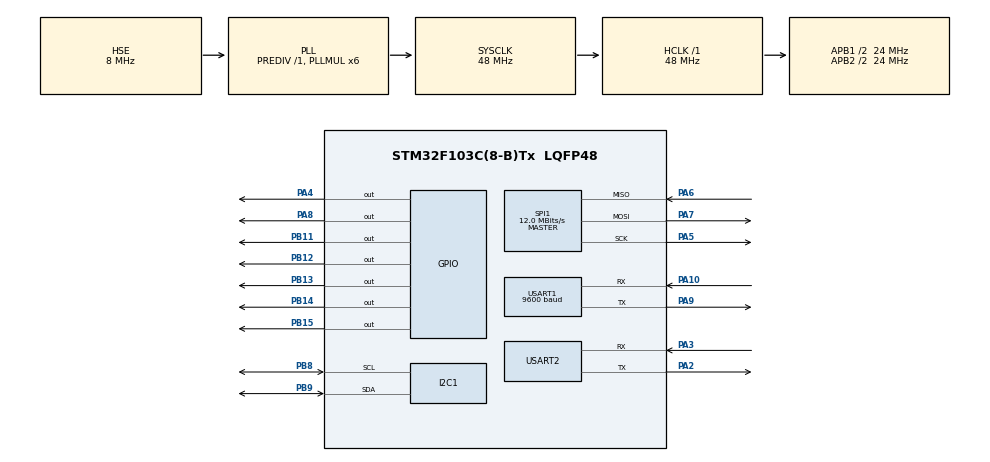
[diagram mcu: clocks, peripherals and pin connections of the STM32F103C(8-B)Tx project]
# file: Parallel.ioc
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Mcu.Family=STM32F1
Mcu.Name=STM32F103C(8-B)Tx
Mcu.Package=LQFP48
NVIC.PriorityGroup=NVIC_PRIORITYGROUP_4
NVIC.TIM3_IRQn=true\:0\:0\:false\:false\:true
NVIC.USART1_IRQn=true\:0\:0\:false\:false\:true
NVIC.USART2_IRQn=true\:0\:0\:false\:false\:true
PA10.Mode=Asynchronous
PA10.Signal=USART1_RX
PA13.Mode=Serial_Wire
PA13.Signal=SYS_JTMS-SWDIO
PA14.Mode=Serial_Wire
PA14.Signal=SYS_JTCK-SWCLK
PA2.Mode=Asynchronous
PA2.Signal=USART2_TX
PA3.Mode=Asynchronous
PA3.Signal=USART2_RX
PA4.Signal=GPIO_Output
PA5.Mode=Full_Duplex_Master
PA5.Signal=SPI1_SCK
PA6.Mode=Full_Duplex_Master
PA6.Signal=SPI1_MISO
PA7.Mode=Full_Duplex_Master
PA7.Signal=SPI1_MOSI
PA8.Signal=GPIO_Output
PA9.Mode=Asynchronous
PA9.Signal=USART1_TX
PB11.Signal=GPIO_Output
PB12.Signal=GPIO_Output
PB13.Signal=GPIO_Output
PB14.Signal=GPIO_Output
PB15.Signal=GPIO_Output
PB8.Mode=I2C
PB8.Signal=I2C1_SCL
PB9.Mode=I2C
PB9.Signal=I2C1_SDA
PC14-OSC32_IN.Mode=LSE-External-Oscillator
PC14-OSC32_IN.Signal=RCC_OSC32_IN
PC15-OSC32_OUT.Mode=LSE-External-Oscillator
PC15-OSC32_OUT.Signal=RCC_OSC32_OUT
PD0-OSC_IN.Mode=HSE-External-Oscillator
PD0-OSC_IN.Signal=RCC_OSC_IN
PD1-OSC_OUT.Mode=HSE-External-Oscillator
PD1-OSC_OUT.Signal=RCC_OSC_OUT
ProjectManager.HeapSize=0x200
ProjectManager.StackSize=0x400
ProjectManager.TargetToolchain=MDK-ARM V5
RCC.AHBFreq_Value=48000000
RCC.APB1CLKDivider=RCC_HCLK_DIV2
RCC.APB1Freq_Value=24000000
RCC.APB1TimFreq_Value=48000000
RCC.APB2CLKDivider=RCC_HCLK_DIV2
RCC.APB2Freq_Value=24000000
RCC.APB2TimFreq_Value=48000000
RCC.HCLKFreq_Value=48000000
RCC.HSIState=RCC_HSI_ON
RCC.PLLMUL=RCC_PLL_MUL6
RCC.PLLSourceVirtual=RCC_PLLSOURCE_HSE
RCC.RTCClockSelection=RCC_RTCCLKSOURCE_HSE_DIV128
RCC.SYSCLKFreq_VALUE=48000000
RCC.SYSCLKSource=RCC_SYSCLKSOURCE_PLLCLK
RCC.USBFreq_Value=48000000
SPI1.BaudRatePrescaler=SPI_BAUDRATEPRESCALER_2
SPI1.CalculateBaudRate=12.0 MBits/s
SPI1.Mode=SPI_MODE_MASTER
TIM3.Period=999
TIM3.Prescaler=48000
USART1.BaudRate=9600
VP_TIM3_VS_ClockSourceINT.Mode=Internal
board=Parallel

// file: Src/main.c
/**
  ******************************************************************************
  * File Name          : main.c
  * Description        : Main program body
  ******************************************************************************
  *
  * COPYRIGHT(c) 2020 STMicroelectronics
  *
  * Redistribution and use in source and binary forms, with or without modification,
  * are permitted provided that the following conditions are met:
  *   1. Redistributions of source code must retain the above copyright notice,
  *      this list of conditions and the following disclaimer.
  *   2. Redistributions in binary form must reproduce the above copyright notice,
  *      this list of conditions and the following disclaimer in the documentation
  *      and/or other materials provided with the distribution.
  *   3. Neither the name of STMicroelectronics nor the names of its contributors
  *      may be used to endorse or promote products derived from this software
  *      without specific prior written permission.
  *
  * THIS SOFTWARE IS PROVIDED BY THE COPYRIGHT HOLDERS AND CONTRIBUTORS "AS IS"
  * AND ANY EXPRESS OR IMPLIED WARRANTIES, INCLUDING, BUT NOT LIMITED TO, THE
  * IMPLIED WARRANTIES OF MERCHANTABILITY AND FITNESS FOR A PARTICULAR PURPOSE ARE
  * DISCLAIMED. IN NO EVENT SHALL THE COPYRIGHT HOLDER OR CONTRIBUTORS BE LIABLE
  * FOR ANY DIRECT, INDIRECT, INCIDENTAL, SPECIAL, EXEMPLARY, OR CONSEQUENTIAL
  * DAMAGES (INCLUDING, BUT NOT LIMITED TO, PROCUREMENT OF SUBSTITUTE GOODS OR
  * SERVICES; LOSS OF USE, DATA, OR PROFITS; OR BUSINESS INTERRUPTION) HOWEVER
  * CAUSED AND ON ANY THEORY OF LIABILITY, WHETHER IN CONTRACT, STRICT LIABILITY,
  * OR TORT (INCLUDING NEGLIGENCE OR OTHERWISE) ARISING IN ANY WAY OUT OF THE USE
  * OF THIS SOFTWARE, EVEN IF ADVISED OF THE POSSIBILITY OF SUCH DAMAGE.
  *
  ******************************************************************************
  */
#include "stm32f1xx_hal.h"

/* USER CODE BEGIN Includes */
#include "bme280.h"
#include "bme280_defs.h"
#include "SDS011.h"
#include <stdio.h>
#include <stdlib.h>
#include <string.h>
#include <math.h>

#define ESP_CMD_INDEX UINT8_C(4)
#define LCD_CMD_INDEX UINT8_C(2)
#define RTC_DATA_NUM_FORM UINT8_C(2)
#define RTC_DATA_FIELD UINT8_C(7)
#define RTC_DATA_STATUS_BYTE UINT8_C(0)
#define SDS_FRAME (9)
#define LCD_LEVEL_DATA_INDEX (6)
#define DATA_AQI_INDEX (0)
#define ESP_DATA_FIELD (6)
#define ESP_DATA_NUM_FORM (4)
#define MAX_COUNTER_VARIABLES (10)
#define FLAG_RAISING (1)
#define FLAG_FALLING (0)
#define TIME_FORMAT_SECOND (0)
#define TIME_FORMAT_MINUTE (1)
#define TIME_FORMAT_HOUR (2)
#define TIME_FORMAT_DAY (3)
#define FLAG_RAISE (1)
#define FLAG_DEFAULT (0)
#define MEASURE_COUNT (20)
/* USER CODE END Includes */

I2C_HandleTypeDef hi2c1;

SPI_HandleTypeDef hspi1;

TIM_HandleTypeDef htim3;

UART_HandleTypeDef huart1;
UART_HandleTypeDef huart2;

/* USER CODE BEGIN PV */
/* Private variables ---------------------------------------------------------*/
UART_HandleTypeDef hua;
struct bme280_dev dev;
struct bme280_data cdata;
uint32_t countloop = 0;
uint8_t ib = 0;
uint8_t CNT_Measure = 0;
float pm25 = 0, pm10 = 0;
uint8_t level = 0;
uint32_t req_time = 0;
uint16_t SDS_OFFSET = 100;
uint32_t TIME_UNIT[] = {1, 60, 3600, 86400};
uint16_t PM_MAX1 = 0, PM_MIN1 = 500;
uint16_t PM_MAX2 = 0, PM_MIN2 = 500;
uint8_t COMMAND_ID = 0;

//Interrupt UART Variables
uint8_t Rx_DataReg1;
uint8_t Rx_DataReg2;
uint8_t Rx_DataReg3;
volatile uint8_t index1 = 0;
volatile uint8_t index2 = 0;
volatile uint8_t index3 = 0;

//Buffers
uint8_t buffer1[100];
char buffer2[100];
char buffer3[100];
char message1[100];
char message2[100];
char rtc_data[100];
char esp_data[100];
char wifi_ssid[100];
char wifi_pass[100];
uint8_t sds_data[10];
uint16_t data_outdoor[10];

//Flags
uint8_t ESP_BUSY = 1;
uint8_t ESP_ISCONNECTED = 0;
uint8_t FLAG_SDS = 1;
uint8_t FLAG_RTC = 1;
uint8_t FLAG_SENSORS_READ = 1;
uint8_t FLAG_REQUEST_DATA_STM = 1;
uint8_t FLAG_ACTIVE_SENSORS = 1;
uint16_t checksum = 0;
uint8_t checksumFlag = 0;

//Couter variables
uint32_t counter[MAX_COUNTER_VARIABLES] = {0};
uint8_t hcnt[MAX_COUNTER_VARIABLES] = {0}; //Handle for counter registration
/* USER CODE END PV */

void SystemClock_Config(void);
static void MX_GPIO_Init(void);
static void MX_I2C1_Init(void);
static void MX_SPI1_Init(void);
static void MX_USART1_UART_Init(void);
static void MX_USART2_UART_Init(void);
static void MX_TIM3_Init(void);

/* USER CODE BEGIN PFP */
/* Private function prototypes -----------------------------------------------*/

/* USER CODE END PFP */

/* USER CODE BEGIN 0 */

// I2C delay/read/write for driver BME

int fputc(int c, FILE *f)
{
	HAL_UART_Transmit(&hua, (uint8_t*)&c, 1, 0x00FF);
	return 0;
}
uint8_t USER_ATOI(char c)
{
	if ((c > 0x2F) && (c < 0x3A)) {
		return (c - 48);
	}
	else {
		return 0;
	}
}
void HAL_UART_RxCpltCallback(UART_HandleTypeDef *huart)
{

	if (huart->Instance == huart2.Instance)
	{

		if (index2 == 0) memset(&buffer2, 0, 100);
		switch (index2)
		{
			case 0:
				if (Rx_DataReg2 == '#') {buffer2[index2++] = Rx_DataReg2; }
				break;
			case 1:
				if (Rx_DataReg2 == 'E') {buffer2[index2++] = Rx_DataReg2; }
				else index2 = 0;
				break;
			case 2:
				if (Rx_DataReg2 == 'S') {buffer2[index2++] = Rx_DataReg2; }
				else index2 = 0;
				break;
			case 3:
				if (Rx_DataReg2 == 'P') {buffer2[index2++] = Rx_DataReg2; }
				else index2 = 0;
				break;
			default:
				if (Rx_DataReg2 != 0x0D) buffer2[index2++] = Rx_DataReg2;
				else
				{
					// check buffer1[ESP_CMD_INDEX] for commander code:
					// 0 is State ESP in progress (Busy)
					// 1 is State IsConnected Wifi
					// 2 is RTC data from NTP server
					// 3 is DataMessage from Local Network ESP, then copy to Message1[100]
					switch (buffer2[ESP_CMD_INDEX])
					{
						case '0': ESP_BUSY = 0;
							break;
						case '1':
							if (buffer2[ESP_CMD_INDEX + 1] == '1')
								ESP_ISCONNECTED = 1 ;
							else
								ESP_ISCONNECTED = 0;
							break;
						case '2':
							FLAG_RTC = 0;
							for (int i = 0; i < index2 - ESP_CMD_INDEX - 1; i++)
								rtc_data[i] = buffer2[i + ESP_CMD_INDEX + 1];
							break;
						case '3':
							for (int i = 0; i < index2 - ESP_CMD_INDEX - 1; i++)
								message1[i] = buffer2[i + ESP_CMD_INDEX + 1];
							break;
						case '4': //CMD
							COMMAND_ID = buffer2[ESP_CMD_INDEX + 1];
							switch (COMMAND_ID)
							{
								case '0': HAL_GPIO_WritePin(GPIOB, GPIO_PIN_11, GPIO_PIN_SET); break;
								case '1': HAL_GPIO_WritePin(GPIOB, GPIO_PIN_11, GPIO_PIN_RESET); break;
								case '2': HAL_GPIO_WritePin(GPIOB, GPIO_PIN_14, GPIO_PIN_RESET); break;
							}
							break;
						case '5':
							HAL_GPIO_TogglePin(GPIOB, GPIO_PIN_15);
							FLAG_REQUEST_DATA_STM = 0;
					}
					index2 = 0;
				}
		}
		HAL_UART_Receive_IT(&huart2, &Rx_DataReg2, 1);
	}

	if (huart->Instance == huart1.Instance)
	{
		if (index1 == 0) memset(&buffer1, 0 , 100);
		switch (index1)
		{
			case 0:
				if (Rx_DataReg1 == 0xAA) {buffer1[index1++] = Rx_DataReg1;}
				break;
			case 1:
				if (Rx_DataReg1 == 0xC0) {buffer1[index1++] = Rx_DataReg1;}
				else index1 = 0;
				break;
			default:
				if (index1  < SDS_FRAME)
				{
					buffer1[index1] = Rx_DataReg1;
					if (index1 != 8) {checksum += Rx_DataReg1;}
					else if (Rx_DataReg1 == (checksum % 256)) checksumFlag = 1;
					index1++;
				}
				if (index1 == SDS_FRAME && Rx_DataReg1 == 0xAB)
				{
					if (checksumFlag)
					{
						for (int i = 0; i < 4; i++)  // Take 4 byte data of PM2.5 & PM10
						{
							sds_data[i] = buffer1[i+2];
						}
						FLAG_SDS = 0;
					}
					index1 = 0;
				}
		}
		HAL_UART_Receive_IT(&huart1, &Rx_DataReg1, 1);
	}
}

void HAL_TIM_PeriodElapsedCallback(TIM_HandleTypeDef *htim)
{
	if(htim -> Instance == htim3.Instance)
	{
		for(int i = 0; i < MAX_COUNTER_VARIABLES; i++)
		{
			if(hcnt[i] == 1) counter[i]++;
		}
	}
}
void PARSE_TIME(char time[RTC_DATA_FIELD][RTC_DATA_NUM_FORM], char *data)
{
	uint8_t n = 0;
	for(int i = 1; i < RTC_DATA_FIELD * RTC_DATA_NUM_FORM + 1;)  // Byte 1 of RTC_data for Status
	{
		for(int j = 0; j < RTC_DATA_NUM_FORM; j++)
		{
			time[n][j] = data[i++];
		}
		n++;
	}
}
uint8_t BcdToDec(uint8_t Num) {
	return ((Num / 16) * 10 + (Num % 16));
}

uint8_t DecToBcd(uint8_t Num) {
	return ((Num / 10) * 16 + (Num % 10));
}

uint16_t USER_ROUND(float Num)
{
	int a = (int)Num;
	if (Num <= 0) return 0;
	if (Num - a >= 0.5){
		return (a + 1);
	}
	else{
		return a;
	}
}

void SEND_DATA_THINGSPEAK(volatile uint8_t *esp_status, volatile uint8_t *flag, uint16_t *data, uint8_t field)
{
	if (*esp_status == 0 && *flag == 0)
	{
		char str[100] = {0};
		char buf[10] = {0};
		for(int i = 0; i < field; i++)
		{
			sprintf(buf, "%d%c", data[i], ';');
			strcat(str, buf);
		}
		hua  = huart2;
		printf("#3DATA;%s\r", str);
//		hua  = huart3;
//		printf("#3DATA;%s\r", str);

		*esp_status = 1;
		*flag = 1;
	}
}

void ESP_RESET()
{
	HAL_GPIO_WritePin(GPIOA, GPIO_PIN_8, GPIO_PIN_RESET);
	HAL_Delay(50);
	HAL_GPIO_WritePin(GPIOA, GPIO_PIN_8, GPIO_PIN_SET);
}
uint16_t getAqi(float C, uint8_t type)
{
  float I, I_hi, I_low;
  float  C_hi, C_low;
  if (type == 25) {
    if (C > 0 && C < 15.4) {
      C_hi  = 15.4;
      C_low = 0.0;
      I_hi  = 50;
      I_low = 0;
    }
    else if (C < 40.4) {
      C_hi  = 40.4;
      C_low = 15.5;
      I_hi  = 100;
      I_low = 51;
    }
    else if (C < 65.4) {
      C_hi  = 65.4;
      C_low = 40.5;
      I_hi  = 150;
      I_low = 101;
    }
    else if (C < 150.4) {
      C_hi  = 150.4;
      C_low = 65.5;
      I_hi  = 200;
      I_low = 151;
    }
    else if (C < 250.4) {
      C_hi  = 250.4;
      C_low = 150.5;
      I_hi  = 300;
      I_low = 201;
    }
    else if (C < 350.4) {
      C_hi  = 350.4;
      C_low = 250.5;
      I_hi  = 400;
      I_low = 301;
    }
    else if (C < 500.4) {
      C_hi  = 500.4;
      C_low = 350.5;
      I_hi  = 500;
      I_low = 401;
    }
  }
  if (type == 10) {
    if (C > 0 && C < 54) {
      C_hi  = 54;
      C_low = 0.0;
      I_hi  = 50;
      I_low = 0;
    }
    else if (C < 154) {
      C_hi  = 154;
      C_low = 55;
      I_hi  = 100;
      I_low = 51;
    }
    else if (C < 254) {
      C_hi  = 254;
      C_low = 155;
      I_hi  = 150;
      I_low = 101;
    }
    else if (C < 354) {
      C_hi  = 354;
      C_low = 255;
      I_hi  = 200;
      I_low = 151;
    }
    else if (C < 424) {
      C_hi  = 424;
      C_low = 355;
      I_hi  = 300;
      I_low = 201;
    }
    else if (C < 504) {
      C_hi  = 504;
      C_low = 425;
      I_hi  = 400;
      I_low = 301;
    }
    else if (C < 604) {
      C_hi  = 604;
      C_low = 505;
      I_hi  = 500;
      I_low = 401;
    }
    else return 500;
  }

  I = ((I_hi - I_low) / (C_hi - C_low) * (C - C_low)) + I_low;
  return (uint16_t)I;
}
// I2C delay/read/write for driver BME
void USER_DELAY(uint32_t period)
{
 HAL_Delay(period);
}
int8_t USER_READ(uint8_t dev_id, uint8_t reg_addr, uint8_t *reg_data, uint16_t len)
{
	HAL_StatusTypeDef status = HAL_OK;
	int8_t rslt = 0;
	status = HAL_I2C_Mem_Read(&hi2c1, (uint8_t)(dev_id<<1), (uint8_t)reg_addr, I2C_MEMADD_SIZE_8BIT, reg_data, len, 10);
	if (status != HAL_OK) rslt = 1;
	return rslt;
}
int8_t USER_WRITE(uint8_t dev_id, uint8_t reg_addr, uint8_t *reg_data, uint16_t len)
{
	HAL_StatusTypeDef status = HAL_OK;
	int8_t rslt = 0;
	status = HAL_I2C_Mem_Write(&hi2c1, (uint8_t)(dev_id<<1), (uint8_t)reg_addr, I2C_MEMADD_SIZE_8BIT, reg_data, len, 100);
	if (status != HAL_OK) rslt = 1;
	return rslt;
}

int8_t BME280_UINIT(struct bme280_dev *pdev)
{
	int8_t rslt = BME280_OK;
	pdev -> dev_id = BME280_I2C_ADDR_PRIM;
	pdev -> intf = BME280_I2C_INTF;
	pdev -> read = USER_READ;
	pdev -> write = USER_WRITE;
	pdev -> delay_ms = USER_DELAY;

	rslt = bme280_init(pdev);
	return rslt;
}
int8_t BME280_SETTING(struct bme280_dev *pdev)
{
	int8_t rslt;
	uint8_t settings_sel;

	/* Recommended mode of operation: Indoor navigation */
	pdev->settings.osr_h = BME280_OVERSAMPLING_1X;
	pdev->settings.osr_p = BME280_OVERSAMPLING_16X;
	pdev->settings.osr_t = BME280_OVERSAMPLING_2X;
	pdev->settings.filter = BME280_FILTER_COEFF_16;
	pdev->settings.standby_time = BME280_STANDBY_TIME_62_5_MS;

	settings_sel = BME280_OSR_PRESS_SEL;
	settings_sel |= BME280_OSR_TEMP_SEL;
	settings_sel |= BME280_OSR_HUM_SEL;
	settings_sel |= BME280_STANDBY_SEL;
	settings_sel |= BME280_FILTER_SEL;
	rslt = bme280_set_sensor_settings(settings_sel, pdev);
	rslt = bme280_set_sensor_mode(BME280_NORMAL_MODE, pdev);

	return rslt;
}
int8_t BME280_READ_DATA(struct bme280_data *pcomp_data, struct bme280_dev *pdev)
{
	int8_t rslt;
	rslt = bme280_get_sensor_data(BME280_ALL, pcomp_data, pdev);
	return rslt;
}

void FLAG_ROUTINE(uint8_t flag0, uint16_t cnt, uint8_t cycletime)
{

}

int8_t BME280_SETTING_FORCE_MODE(struct bme280_dev *dev, struct bme280_data *comp_data, uint32_t *req_delay)
{
	int8_t rslt;
	uint8_t settings_sel;
	/* Recommended mode of operation: Indoor navigation */
	dev->settings.osr_h = BME280_OVERSAMPLING_1X;
	dev->settings.osr_p = BME280_OVERSAMPLING_16X;
	dev->settings.osr_t = BME280_OVERSAMPLING_2X;
	dev->settings.filter = BME280_FILTER_COEFF_16;

	settings_sel = BME280_OSR_PRESS_SEL | BME280_OSR_TEMP_SEL | BME280_OSR_HUM_SEL | BME280_FILTER_SEL;

	rslt = bme280_set_sensor_settings(settings_sel, dev);

	/*Calculate the minimum delay required between consecutive measurement based upon the sensor enabled
	 *  and the oversampling configuration. */
	*req_delay = bme280_cal_meas_delay(&dev->settings);
	return rslt;
}
void print_sensor_data(struct bme280_data *comp_data)
{
#ifdef BME280_FLOAT_ENABLE
        printf("%0.2f, %0.2f, %0.2f\r\n",comp_data->temperature, comp_data->pressure, comp_data->humidity);
#else
        printf("%ld, %ld, %ld\r\n",comp_data->temperature, comp_data->pressure, comp_data->humidity);
#endif
}

void stream_sensor_data_forced_mode(struct bme280_dev *dev)
{
	uint8_t settings_sel;
	uint32_t req_delay;
	struct bme280_data comp_data;

	/* Recommended mode of operation: Indoor navigation */
	dev->settings.osr_h = BME280_OVERSAMPLING_1X;
	dev->settings.osr_p = BME280_OVERSAMPLING_16X;
	dev->settings.osr_t = BME280_OVERSAMPLING_2X;
	dev->settings.filter = BME280_FILTER_COEFF_16;

	settings_sel = BME280_OSR_PRESS_SEL | BME280_OSR_TEMP_SEL | BME280_OSR_HUM_SEL | BME280_FILTER_SEL;

	bme280_set_sensor_settings(settings_sel, dev);

	/*Calculate the minimum delay required between consecutive measurement based upon the sensor enabled
	 *  and the oversampling configuration. */
	req_delay = bme280_cal_meas_delay(&dev->settings);

	printf("Temperature, Pressure, Humidity\r\n");
	/* Continuously stream sensor data */
	while (1) {
			bme280_set_sensor_mode(BME280_FORCED_MODE, dev);
			/* Wait for the measurement to complete and print data @25Hz */
			dev->delay_ms(req_delay);
			bme280_get_sensor_data(BME280_ALL, &comp_data, dev);
			print_sensor_data(&comp_data);
		HAL_Delay(1000);
	}
}
void LCD_CMD(char *cmd)
{
//	hua = huart3;
//	printf("%s", cmd);
//	printf("%c%c%c", 0xFF, 0xFF, 0xFF);
}

void SDS011_USER_READ(uint8_t *flag, float *pm25, float *pm10)
{
	if (*flag == 0)
	{
		*pm25 = (float)(sds_data[1] << 8);
		*pm25 += (float)sds_data[0];
		*pm25 /= 10.0;
		*pm10 = (float)(sds_data[3] << 8);
		*pm10 += (float)sds_data[2];
		*pm10 /= 10.0;
		*flag = 1;
	}
}
void FLAG_UPDATE_STATUS(uint8_t *flag, uint8_t counter_id, uint8_t type_action, uint8_t time_format, uint16_t period)
{
	/*Type Action: 	0 for FALLING (1 -> 0)
									1 for RASING (0 -> 1)

		Time Format:	0 - Second
									1 - Minute
									2 - Hour
									3 - Day
		TIME_UNIT[] = {1, 60, 3600, 86400}
	*/
	if(counter_id < MAX_COUNTER_VARIABLES)
	{
		if(hcnt[counter_id] == 0) hcnt[counter_id] = 1;  // Flag Registration
		if(counter[counter_id] >= period * TIME_UNIT[time_format])
		{
			if(type_action == FLAG_RAISING) *flag = 1;
			else *flag = 0;
			counter[counter_id] = 0; // Reset counter
		}
	}

}
void READ_SENSORS(uint8_t *flag1, uint8_t *flag2, uint8_t *cnt, struct bme280_dev *pdev, struct bme280_data *pdata, float *pm25, float *pm10, uint8_t *flagsds, uint16_t pulse, uint16_t *stored_data)
{
	if(*flag1 == 0 && *flag2 == 0)
	{
		if (*cnt == 0)
		{
			SDS011_WAKEUP();
//			hua = huart3;
//			printf("\nWakeup SDS\n");
		}
		bme280_set_sensor_mode(BME280_FORCED_MODE, pdev);
		HAL_Delay(req_time);
//		hua = huart3;
//		printf("\n%d\n", *cnt);

		BME280_READ_DATA(pdata, pdev);
		SDS011_USER_READ(flagsds, pm25, pm10);
		stored_data[0] = USER_ROUND(*pm25);
		stored_data[1] = USER_ROUND(*pm10);
		stored_data[2] = USER_ROUND(pdata->temperature);
		stored_data[3] = USER_ROUND(pdata->humidity);
		stored_data[4] = USER_ROUND((pdata->pressure)/100);
		stored_data[5] = USER_ROUND(ib);

//		hua = huart3;
//		printf("BME280 DATA: Temp = %.1f /Humi = %.1f /Press = %.1f\n", pdata->temperature, pdata->humidity, pdata->pressure/100);
//		printf("SDS011 DATA: AQI = %d/ PM2.5 = %.1f /PM10 = %.1f\n\n", getAqi(*pm25, 25), *pm25, *pm10);
		*flag2 = 1;
		if (*cnt == MEASURE_COUNT)
		{
//			hua = huart3;
//			printf("\nSLEEP SDS\n");
			SDS011_SLEEP();
			*cnt = 0;
			*flag1 = 1;
		}
		else *cnt = *cnt + 1;
	}
}
void RESPONSE_DATA(uint8_t *flag, uint16_t *data)
{
	if (*flag == 0)
	{
		char str[100] = {0};
		char buf[10] = {0};
		for(int i = 0; i < 6; i++)
		{
			sprintf(buf, "%d%c", data[i], ';');
			strcat(str, buf);
		}
		hua  = huart2;
		printf("#DATA;%s\r", str);
//		hua  = huart3;
//		printf("#DATA;%s\r", str);

		*flag = 1;
		ib += 10;
	}
}
/* USER CODE END 0 */

int main(void)
{

  /* MCU Configuration----------------------------------------------------------*/

  /* Reset of all peripherals, Initializes the Flash interface and the Systick. */
  HAL_Init();

  /* Configure the system clock */
  SystemClock_Config();

  /* Initialize all configured peripherals */
  MX_GPIO_Init();
  MX_I2C1_Init();
  MX_SPI1_Init();
  MX_USART1_UART_Init();
  MX_USART2_UART_Init();
  MX_TIM3_Init();

  /* USER CODE BEGIN 2 */
	//---------------------------------------------------------
	countloop++;
	ESP_RESET();
	HAL_Delay(2000);
	SDS011_SET_UART(&huart1);
	HAL_UART_Receive_IT(&huart1, &Rx_DataReg1, 1);
	HAL_UART_Receive_IT(&huart2, &Rx_DataReg2, 1);
//	HAL_UART_Receive_IT(&huart3, &Rx_DataReg3, 1);

	// INIT & SETUP ESP
	hua = huart2;
	printf("import dev\r");

	//INIT BME280
//	hua = huart3;
//	printf("Init BME\n");
	BME280_UINIT(&dev);
//	hua = huart3;
//	printf("Init BME OK\n");
//	BME280_SETTING(&dev);
	BME280_SETTING_FORCE_MODE(&dev, &cdata, &req_time);

	//Start Timer for OS
	HAL_TIM_Base_Start_IT(&htim3);
	uint16_t slave_data[10] = {0};
	FLAG_SENSORS_READ = 0;
	FLAG_ACTIVE_SENSORS = 0;
	//---------------------------------------------------------
  /* USER CODE END 2 */

  /* Infinite loop */
  while (1)
  {

  /* USER CODE BEGIN 3 */
		// Read data from Sensors

		FLAG_UPDATE_STATUS(&FLAG_ACTIVE_SENSORS, 0, FLAG_FALLING, TIME_FORMAT_SECOND, 60);
		FLAG_UPDATE_STATUS(&FLAG_SENSORS_READ, 1, FLAG_FALLING, TIME_FORMAT_SECOND, 1);
		READ_SENSORS(&FLAG_ACTIVE_SENSORS, &FLAG_SENSORS_READ, &CNT_Measure, &dev, &cdata, &pm25, &pm10, &FLAG_SDS, 80, slave_data);

		//Send Data when ESP request
		RESPONSE_DATA(&FLAG_REQUEST_DATA_STM, slave_data);

  }
  /* USER CODE END 3 */

}

/** System Clock Configuration
*/
void SystemClock_Config(void)
{

  RCC_OscInitTypeDef RCC_OscInitStruct;
  RCC_ClkInitTypeDef RCC_ClkInitStruct;

  RCC_OscInitStruct.OscillatorType = RCC_OSCILLATORTYPE_HSE;
  RCC_OscInitStruct.HSEState = RCC_HSE_ON;
  RCC_OscInitStruct.HSEPredivValue = RCC_HSE_PREDIV_DIV1;
  RCC_OscInitStruct.PLL.PLLState = RCC_PLL_ON;
  RCC_OscInitStruct.PLL.PLLSource = RCC_PLLSOURCE_HSE;
  RCC_OscInitStruct.PLL.PLLMUL = RCC_PLL_MUL6;
  HAL_RCC_OscConfig(&RCC_OscInitStruct);

  RCC_ClkInitStruct.ClockType = RCC_CLOCKTYPE_HCLK|RCC_CLOCKTYPE_SYSCLK
                              |RCC_CLOCKTYPE_PCLK1|RCC_CLOCKTYPE_PCLK2;
  RCC_ClkInitStruct.SYSCLKSource = RCC_SYSCLKSOURCE_PLLCLK;
  RCC_ClkInitStruct.AHBCLKDivider = RCC_SYSCLK_DIV1;
  RCC_ClkInitStruct.APB1CLKDivider = RCC_HCLK_DIV2;
  RCC_ClkInitStruct.APB2CLKDivider = RCC_HCLK_DIV2;
  HAL_RCC_ClockConfig(&RCC_ClkInitStruct, FLASH_LATENCY_1);

  HAL_SYSTICK_Config(HAL_RCC_GetHCLKFreq()/1000);

  HAL_SYSTICK_CLKSourceConfig(SYSTICK_CLKSOURCE_HCLK);

  /* SysTick_IRQn interrupt configuration */
  HAL_NVIC_SetPriority(SysTick_IRQn, 0, 0);
}

/* I2C1 init function */
void MX_I2C1_Init(void)
{

  hi2c1.Instance = I2C1;
  hi2c1.Init.ClockSpeed = 100000;
  hi2c1.Init.DutyCycle = I2C_DUTYCYCLE_2;
  hi2c1.Init.OwnAddress1 = 0;
  hi2c1.Init.AddressingMode = I2C_ADDRESSINGMODE_7BIT;
  hi2c1.Init.DualAddressMode = I2C_DUALADDRESS_DISABLE;
  hi2c1.Init.OwnAddress2 = 0;
  hi2c1.Init.GeneralCallMode = I2C_GENERALCALL_DISABLE;
  hi2c1.Init.NoStretchMode = I2C_NOSTRETCH_DISABLE;
  HAL_I2C_Init(&hi2c1);

}

/* SPI1 init function */
void MX_SPI1_Init(void)
{

  hspi1.Instance = SPI1;
  hspi1.Init.Mode = SPI_MODE_MASTER;
  hspi1.Init.Direction = SPI_DIRECTION_2LINES;
  hspi1.Init.DataSize = SPI_DATASIZE_8BIT;
  hspi1.Init.CLKPolarity = SPI_POLARITY_LOW;
  hspi1.Init.CLKPhase = SPI_PHASE_1EDGE;
  hspi1.Init.NSS = SPI_NSS_SOFT;
  hspi1.Init.BaudRatePrescaler = SPI_BAUDRATEPRESCALER_2;
  hspi1.Init.FirstBit = SPI_FIRSTBIT_MSB;
  hspi1.Init.TIMode = SPI_TIMODE_DISABLE;
  hspi1.Init.CRCCalculation = SPI_CRCCALCULATION_DISABLE;
  hspi1.Init.CRCPolynomial = 10;
  HAL_SPI_Init(&hspi1);

}

/* TIM3 init function */
void MX_TIM3_Init(void)
{

  TIM_ClockConfigTypeDef sClockSourceConfig;
  TIM_MasterConfigTypeDef sMasterConfig;

  htim3.Instance = TIM3;
  htim3.Init.Prescaler = 48000;
  htim3.Init.CounterMode = TIM_COUNTERMODE_UP;
  htim3.Init.Period = 999;
  htim3.Init.ClockDivision = TIM_CLOCKDIVISION_DIV1;
  HAL_TIM_Base_Init(&htim3);

  sClockSourceConfig.ClockSource = TIM_CLOCKSOURCE_INTERNAL;
  HAL_TIM_ConfigClockSource(&htim3, &sClockSourceConfig);

  sMasterConfig.MasterOutputTrigger = TIM_TRGO_RESET;
  sMasterConfig.MasterSlaveMode = TIM_MASTERSLAVEMODE_DISABLE;
  HAL_TIMEx_MasterConfigSynchronization(&htim3, &sMasterConfig);

}

/* USART1 init function */
void MX_USART1_UART_Init(void)
{

  huart1.Instance = USART1;
  huart1.Init.BaudRate = 9600;
  huart1.Init.WordLength = UART_WORDLENGTH_8B;
  huart1.Init.StopBits = UART_STOPBITS_1;
  huart1.Init.Parity = UART_PARITY_NONE;
  huart1.Init.Mode = UART_MODE_TX_RX;
  huart1.Init.HwFlowCtl = UART_HWCONTROL_NONE;
  huart1.Init.OverSampling = UART_OVERSAMPLING_16;
  HAL_UART_Init(&huart1);

}

/* USART2 init function */
void MX_USART2_UART_Init(void)
{

  huart2.Instance = USART2;
  huart2.Init.BaudRate = 115200;
  huart2.Init.WordLength = UART_WORDLENGTH_8B;
  huart2.Init.StopBits = UART_STOPBITS_1;
  huart2.Init.Parity = UART_PARITY_NONE;
  huart2.Init.Mode = UART_MODE_TX_RX;
  huart2.Init.HwFlowCtl = UART_HWCONTROL_NONE;
  huart2.Init.OverSampling = UART_OVERSAMPLING_16;
  HAL_UART_Init(&huart2);

}

/** Configure pins as
        * Analog
        * Input
        * Output
        * EVENT_OUT
        * EXTI
*/
void MX_GPIO_Init(void)
{

  GPIO_InitTypeDef GPIO_InitStruct;

  /* GPIO Ports Clock Enable */
  __HAL_RCC_GPIOC_CLK_ENABLE();
  __HAL_RCC_GPIOD_CLK_ENABLE();
  __HAL_RCC_GPIOA_CLK_ENABLE();
  __HAL_RCC_GPIOB_CLK_ENABLE();

  /*Configure GPIO pin Output Level */
  HAL_GPIO_WritePin(GPIOA, GPIO_PIN_4|GPIO_PIN_8, GPIO_PIN_RESET);

  /*Configure GPIO pin Output Level */
  HAL_GPIO_WritePin(GPIOB, GPIO_PIN_11|GPIO_PIN_12|GPIO_PIN_13|GPIO_PIN_14
                          |GPIO_PIN_15, GPIO_PIN_SET);

  /*Configure GPIO pins : PA4 PA8 */
  GPIO_InitStruct.Pin = GPIO_PIN_4|GPIO_PIN_8;
  GPIO_InitStruct.Mode = GPIO_MODE_OUTPUT_PP;
  GPIO_InitStruct.Speed = GPIO_SPEED_FREQ_LOW;
  HAL_GPIO_Init(GPIOA, &GPIO_InitStruct);

  /*Configure GPIO pins : PB11 PB12 PB13 PB14
                           PB15 */
  GPIO_InitStruct.Pin = GPIO_PIN_11|GPIO_PIN_12|GPIO_PIN_13|GPIO_PIN_14
                          |GPIO_PIN_15;
  GPIO_InitStruct.Mode = GPIO_MODE_OUTPUT_PP;
  GPIO_InitStruct.Speed = GPIO_SPEED_FREQ_LOW;
  HAL_GPIO_Init(GPIOB, &GPIO_InitStruct);

}

/************************ (C) COPYRIGHT STMicroelectronics *****END OF FILE****/
